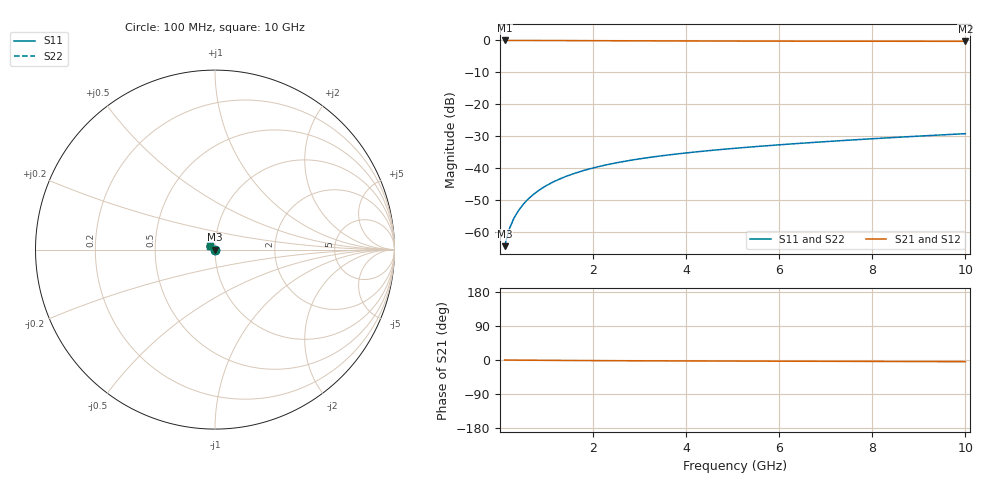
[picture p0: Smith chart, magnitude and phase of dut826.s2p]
! Touchstone file exported from HFSS 2024.1.0
!  File:  C:/UserFiles/LocalFiles/RDL_TSV_Batchsim/temp_TSV1_826_1779878687.aedt
!  Generated:  06:51:48 PM May 27, 2026
!  Design:  TSV1
!  Project:  temp_TSV1_826_1779878687
!  Setup:  Setup1
!  Solution:  Sweep
! Variables:
!  dtsv = 6.77um
!  hbump = 3um
!  htsv = 61.1um
!  lrdl = 252.1521522um
!  p = 40
!  p1 = 57.87um
!  t = 500um
!  trdl = 3um
!  wrdl = 24.89489489um
# GHz S MA R 50.000000
! Terminal data exported
! Port[1] = TSV22_T1
! Port[2] = TSV22_T2
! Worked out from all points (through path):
!   100 points, 100 MHz to 10 GHz, reference 50 ohm
!   highest |S21| = 0.00 dB at 100 MHz (marker M1); lowest = -0.3 dB at 10 GHz (marker M2)
!   lowest |S11| = -64.3 dB at 100 MHz (marker M3), VSWR 1.00, Z = 50 - j0.0559 ohm
!   |S11| at or under -10 dB: start of sweep to end of sweep
!   |S22| runs from -64.3 to -29.1 dB; largest |S21 - S12| = 1.2e-14
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0.1  0.0006083 -66.8  0.9997 -0.1  0.9997 -0.1  0.0006083 -66.8
! Gamma 0 0 0 0
! Port Impedance 50 0 50 0
0.2  0.001126 -81.7  0.9996 -0.2  0.9996 -0.2  0.001126 -81.7
0.3  0.001662 -88.7  0.9995 -0.3  0.9995 -0.3  0.001662 -88.7
0.4  0.002203 -93.6  0.9993 -0.4  0.9993 -0.4  0.002203 -93.6
0.5  0.002743 -97.6  0.9991 -0.5  0.9991 -0.5  0.002743 -97.6
0.6  0.003282 -101.0  0.9988 -0.5  0.9988 -0.5  0.003282 -101.0
0.7  0.003818 -104.2  0.9985 -0.6  0.9985 -0.6  0.003818 -104.2
0.8  0.00435 -107.1  0.9981 -0.7  0.9981 -0.7  0.00435 -107.1
0.9  0.004876 -110.0  0.9977 -0.8  0.9977 -0.8  0.004876 -110.0
1.1  0.005909 -115.3  0.9968 -0.9  0.9968 -0.9  0.005909 -115.3
1.4  0.007401 -122.8  0.9953 -1.2  0.9953 -1.2  0.007401 -122.8
1.6  0.008354 -127.5  0.9942 -1.3  0.9942 -1.3  0.008354 -127.5
1.8  0.009271 -132.0  0.9931 -1.4  0.9931 -1.4  0.009271 -132.0
2.1  0.01058 -138.4  0.9913 -1.6  0.9913 -1.6  0.01058 -138.4
2.5  0.01221 -146.4  0.989 -1.8  0.989 -1.8  0.01221 -146.4
2.9  0.01373 -153.8  0.9868 -2.0  0.9868 -2.0  0.01373 -153.8
3.4  0.01548 -162.2  0.9842 -2.2  0.9842 -2.2  0.01548 -162.2
4.2  0.01806 -173.8  0.9808 -2.5  0.9808 -2.5  0.01806 -173.8
5.1  0.02076 175.2  0.9777 -2.8  0.9777 -2.8  0.02076 175.2
6.7  0.02535 159.9  0.9739 -3.4  0.9739 -3.4  0.02535 159.9
8.4  0.03022 147.9  0.9713 -3.9  0.9713 -3.9  0.03022 147.9
10  0.0349 139.3  0.9695 -4.4  0.9695 -4.4  0.0349 139.3
